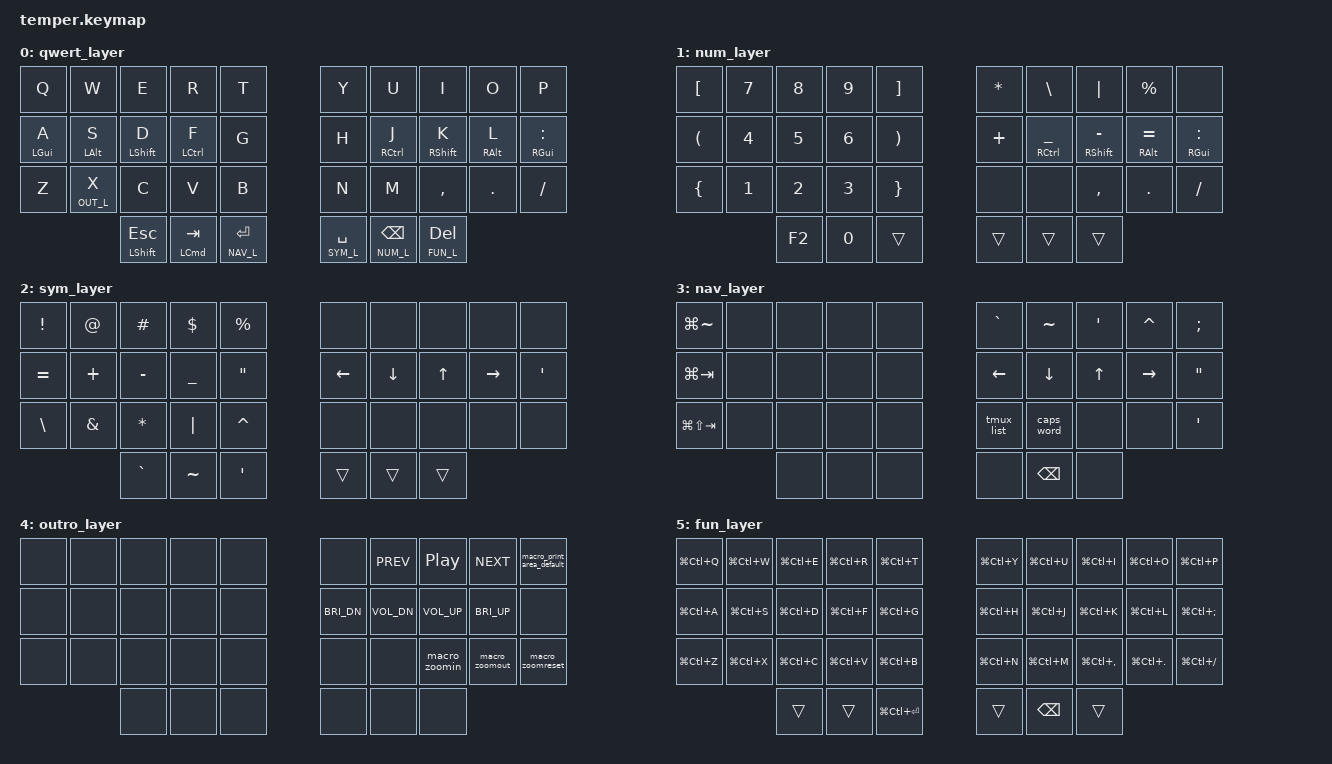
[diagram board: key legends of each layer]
// -*- mode: c; coding: utf-8 -*-
/*
 * Copyright (c) 2021 The ZMK Contributors
 *
 * SPDX-License-Identifier: MIT
 */

#include <behaviors.dtsi>
#include <dt-bindings/zmk/keys.h>

#define ZMK_HELPER_KEEP_NATIVE 1
#include "zmk-helpers/helper.h"
#include "zmk-helpers/key-labels/36.h"

#define HM_TAPPING_TERM 280
#define HM_PRIOR_IDLE   150
#define HM_QUICK_TAP    175

#define KEYS_L LT0 LT1 LT2 LT3 LT4 LM0 LM1 LM2 LM3 LM4 LB0 LB1 LB2 LB3 LB4
#define KEYS_R RT0 RT1 RT2 RT3 RT4 RM0 RM1 RM2 RM3 RM4 RB0 RB1 RB2 RB3 RB4
#define THUMBS LH2 LH1 LH0 RH0 RH1 RH2

ZMK_HOLD_TAP(hml,
    flavor = "balanced";
    tapping-term-ms = <HM_TAPPING_TERM>;
    quick-tap-ms = <HM_QUICK_TAP>;
    require-prior-idle-ms = <HM_PRIOR_IDLE>;
    hold-trigger-key-positions = <KEYS_R THUMBS>;
    hold-trigger-on-release;
    bindings = <&kp>, <&kp>;
)

ZMK_HOLD_TAP(hmr,
    flavor = "balanced";
    tapping-term-ms = <HM_TAPPING_TERM>;
    quick-tap-ms = <HM_QUICK_TAP>;
    require-prior-idle-ms = <HM_PRIOR_IDLE>;
    hold-trigger-key-positions = <KEYS_L THUMBS>;
    hold-trigger-on-release;
    bindings = <&kp>, <&kp>;
)

&mt {
    tapping-term-ms = <200>;
    quick_tap_ms = <0>;
    flavor = "tap-preferred";
};

&lt {
    tapping-term-ms = <200>;
    quick_tap_ms = <0>;
    flavor = "tap-preferred";
};

&caps_word {
    continue-list = <DEL MINUS BSPC>;
};

#define QWERT_L 0
#define NUM_L   1
#define SYM_L   2
#define NAV_L   3
#define OUT_L   4
#define FUN_L   5

#define MY_COPY LC(INSERT)
#define MY_PASTE LS(INSERT)
//#define VI_U LC(Z)
//#define VI_W LC(RIGHT)
//#define VI_B LC(LEFT)

#define CCA &kp LG(LC(A))
#define CCB &kp LG(LC(B))
#define CCC &kp LG(LC(C))
#define CCD &kp LG(LC(D))
#define CCE &kp LG(LC(E))
#define CCF &kp LG(LC(F))
#define CCG &kp LG(LC(G))
#define CCH &kp LG(LC(H))
#define CCI &kp LG(LC(I))
#define CCJ &kp LG(LC(J))
#define CCK &kp LG(LC(K))
#define CCL &kp LG(LC(L))
#define CCM &kp LG(LC(M))
#define CCN &kp LG(LC(N))
#define CCO &kp LG(LC(O))
#define CCP &kp LG(LC(P))
#define CCQ &kp LG(LC(Q))
#define CCR &kp LG(LC(R))
#define CCS &kp LG(LC(S))
#define CCT &kp LG(LC(T))
#define CCU &kp LG(LC(U))
#define CCV &kp LG(LC(V))
#define CCW &kp LG(LC(W))
#define CCX &kp LG(LC(X))
#define CCY &kp LG(LC(Y))
#define CCZ &kp LG(LC(Z))
#define CC_C &kp LG(LC(COMMA))
#define CC_D &kp LG(LC(DOT))
#define CC_L &kp LG(LC(SEMI))
#define CC_S &kp LG(LC(SLASH))

#define TAB_CY &kp LG(TILDE)
#define TAB_FW &kp LG(TAB)
#define TAB_BW &kp LG(LS(TAB))

/ {
    combos {
        compatible = "zmk,combos";

    // shortcut
    #define COMBO(NAME, BINDINGS, KEYPOS, TIMEOUT) \
          combo_##NAME { \
            timeout-ms = <TIMEOUT>; \
            bindings = <BINDINGS>; \
            key-positions = <KEYPOS>; \
          };

        /*                KEY POSITIONS

          ╭────────────────────╮ ╭────────────────────╮
          │  0   1   2   3   4 │ │  5   6   7   8   9 │
          │ 10  11  12  13  14 │ │ 15  16  17  18  19 │
          │ 20  21  22  23  24 │ │ 25  26  27  28  29 │
          ╰───────╮ 30  31  32 │ │ 33  34  35 ╭───────╯
                  ╰────────────╯ ╰────────────╯        */


        //COMBO(semicolon, &kp SEMI, 18 19, 60
        //COMBO(slash, &kp FSLH, 1 2, 60)
        //COMBO(escape, &kp ESC, 0 1, 60)
        COMBO(minus, &kp MINUS, 31 34, 60)
        COMBO(underscore, &kp UNDER, 32 33, 60)
        COMBO(equal, &kp EQUAL, 30 35, 60)
        COMBO(plus, &kp PLUS, 20 29, 60)
        // COMBO(reset_left, &bootloader, 0 1 2 3, 100)
        //COMBO(reset_right, &bootloader, 6 7 8 9, 100)
    };

    macros {
        tmux_list: tmux_list {
            label = "tmux_list";
            compatible = "zmk,behavior-macro";
            #binding-cells = <0>;
            bindings
                = <&macro_press &kp LCTRL>
                , <&macro_tap &kp A>
                , <&macro_release &kp LCTRL>
                , <&macro_tap &kp N0>
                ;
        };
        macro_u: macro_u {
            label = "macro_u";
            compatible = "zmk,behavior-macro";
            #binding-cells = <0>;
            bindings
                = <&macro_press &kp LCTRL>
                , <&macro_press &kp LCMD>
                , <&macro_press &kp U>
                , <&macro_release &kp LCTRL>
                , <&macro_release &kp LCMD>
                , <&macro_release &kp U>
                ;
        };
        macro_i: macro_i {
            label = "macro_i";
            compatible = "zmk,behavior-macro";
            #binding-cells = <0>;
            bindings
                = <&macro_press &kp LCTRL>
                , <&macro_press &kp LCMD>
                , <&macro_press &kp I>
                , <&macro_release &kp LCTRL>
                , <&macro_release &kp LCMD>
                , <&macro_release &kp I>
                ;
        };
        macro_n: macro_n {
            label = "macro_n";
            compatible = "zmk,behavior-macro";
            #binding-cells = <0>;
            bindings
                = <&macro_press &kp LCTRL>
                , <&macro_press &kp LCMD>
                , <&macro_press &kp N>
                , <&macro_release &kp LCTRL>
                , <&macro_release &kp LCMD>
                , <&macro_release &kp N>
                ;
        };
        macro_m: macro_m {
            label = "macro_m";
            compatible = "zmk,behavior-macro";
            #binding-cells = <0>;
            bindings
                = <&macro_press &kp LCTRL>
                , <&macro_press &kp LCMD>
                , <&macro_press &kp M>
                , <&macro_release &kp LCTRL>
                , <&macro_release &kp LCMD>
                , <&macro_release &kp M>
                ;
        };
        macro_d: macro_d {
            label = "macro_d";
            compatible = "zmk,behavior-macro";
            #binding-cells = <0>;
            bindings
                = <&macro_press &kp LCTRL>
                , <&macro_press &kp LCMD>
                , <&macro_press &kp D>
                , <&macro_release &kp LCTRL>
                , <&macro_release &kp LCMD>
                , <&macro_release &kp D>
                ;
        };
        macro_comma: macro_comma {
            label = "macro_comma";
            compatible = "zmk,behavior-macro";
            #binding-cells = <0>;
            bindings
                = <&macro_press &kp LCTRL>
                , <&macro_press &kp LCMD>
                , <&macro_press &kp COMMA>
                , <&macro_release &kp LCTRL>
                , <&macro_release &kp LCMD>
                , <&macro_release &kp COMMA>
                ;
        };
        macro_print_area_default: macro_print_area_default {
            label = "macro_print_area_default";
            compatible = "zmk,behavior-macro";
            #binding-cells = <0>;
            bindings
                = <&macro_press &kp LCMD>
                , <&macro_press &kp LSHFT>
                , <&macro_press &kp N2>
                , <&macro_release &kp LCMD>
                , <&macro_release &kp LSHFT>
                , <&macro_release &kp N2>
                ;
        };
        macro_print_full: macro_print_full {
            label = "macro_print_full";
            compatible = "zmk,behavior-macro";
            #binding-cells = <0>;
            bindings
                = <&macro_press &kp LCMD>
                , <&macro_press &kp LSHFT>
                , <&macro_press &kp N1>
                , <&macro_release &kp LCMD>
                , <&macro_release &kp LSHFT>
                , <&macro_release &kp N1>
                ;
        };
        macro_print_area_clipboard: macro_print_area_clipboard {
            label = "macro_print_area_clipboard";
            compatible = "zmk,behavior-macro";
            #binding-cells = <0>;
            bindings
                = <&macro_press &kp LCMD>
                , <&macro_press &kp LSHFT>
                , <&macro_press &kp LCTRL>
                , <&macro_press &kp N4>
                , <&macro_release &kp LCMD>
                , <&macro_release &kp LSHFT>
                , <&macro_release &kp LCTRL>
                , <&macro_release &kp N4>
                ;
        };
        macro_zoomin: macro_zoomin {
            label = "macro_zoomin";
            compatible = "zmk,behavior-macro";
            #binding-cells = <0>;
            bindings
                = <&macro_press &kp LCMD>
                , <&macro_press &kp PLUS>
                , <&macro_release &kp LCMD>
                , <&macro_release &kp PLUS>
                ;
        };

        macro_zoomout: macro_zoomout {
            label = "macro_zoomout";
            compatible = "zmk,behavior-macro";
            #binding-cells = <0>;
            bindings
                = <&macro_press &kp LCMD>
                , <&macro_press &kp MINUS>
                , <&macro_release &kp LCMD>
                , <&macro_release &kp MINUS>
                ;
        };

        macro_zoomreset: macro_zoomreset {
            label = "macro_zoomreset";
            compatible = "zmk,behavior-macro";
            #binding-cells = <0>;
            bindings
                = <&macro_press &kp LCMD>
                , <&macro_press &kp N0>
                , <&macro_release &kp LCMD>
                , <&macro_release &kp N0>
                ;
        };

    };

    behaviors {
        bhm: balanced_homerow_mods {
            compatible = "zmk,behavior-hold-tap";
            label = "HOMEROW_MODS";
            #binding-cells = <2>;
            tapping-term-ms = <200>;
            quick-tap-ms = <185>;
            flavor = "balanced";
            bindings = <&kp>, <&kp>;
        };
    };

    keymap {
        compatible = "zmk,keymap";

        // QWERTY
        qwert_layer {
            bindings = <
                   &kp Q         &kp W         &kp E         &kp R              &kp T              &kp Y               &kp U            &kp I                 &kp O         &kp P
                   &hml LGUI A   &hml LALT S   &hml LSHFT D  &hml LCTRL F       &kp G              &kp H               &hmr RCTRL J     &hmr RSHFT K          &hmr RALT L   &hmr RGUI COLON
                   &kp Z         &lt OUT_L X   &kp C         &kp V              &kp B              &kp N               &kp M            &kp COMMA             &kp DOT       &kp SLASH
                 /*&            &*/              &bhm LSHFT ESC   &bhm LCMD TAB  &lt NAV_L RET     &lt SYM_L SPACE  &lt NUM_L BSPC       &lt FUN_L DEL     /*  &             &*/
            >;
        };

        num_layer {
            bindings = <
                   &kp LBKT     &kp N7        &kp N8        &kp N9             &kp RBKT           &kp STAR            &kp BSLH        &kp PIPE              &kp PRCNT         &none
                   &kp LPAR     &kp N4        &kp N5        &kp N6             &kp RPAR           &kp PLUS            &hmr RCTRL UNDER &hmr RSHFT MINUS     &hmr RALT EQUAL   &hmr RGUI COLON
                   &kp LBRC     &kp N1        &kp N2        &kp N3             &kp RBRC           &none               &none            &kp COMMA             &kp DOT       &kp SLASH
                 /*&            &*/         &kp F2             &kp N0             &trans              &trans           &trans                &trans     /*             &             &*/
            >;
        };

        sym_layer {
            bindings = <
                   &kp EXCL     &kp AT        &kp HASH      &kp DLLR           &kp PRCNT          &none          &none       &none             &none     &none
                   &kp EQUAL   &kp PLUS      &kp MINUS      &kp UNDER          &kp DQT            &kp LEFT            &kp DOWN        &kp UP                &kp RIGHT     &kp SQT
                   &kp BSLH    &kp AMPS      &kp STAR       &kp PIPE           &kp CARET          &none               &none           &none                 &none         &none
                 /*&            &*/         &kp GRAVE          &kp TILDE          &kp SQT              &trans           &trans                   &trans     /*             &             &*/
            >;
        };

        nav_layer {
            bindings = <
                   TAB_CY        &none         &none         &none              &none             &kp GRAVE           &kp TILDE   &kp APOSTROPHE             &kp CARET     &kp SEMI
                   TAB_FW        &none         &none         &none              &none             &kp LEFT            &kp DOWN         &kp UP                &kp RIGHT     &kp DQT
                   TAB_BW        &none         &none         &none              &none             &tmux_list          &caps_word       &none                 &none         &kp SQT
                 /*&            &*/         &none              &none             &none               &none            &kp BSPC                 &none     /*            &             &*/
            >;
        };

        outro_layer {
            bindings = <
                   &none        &none         &none         &none              &none             &none               &kp C_PREV       &kp C_PP                 &kp C_NEXT    &macro_print_area_default
                   &none        &none         &none         &none              &none             &kp C_BRI_DN        &kp C_VOL_DN     &kp C_VOL_UP             &kp C_BRI_UP  &none
                   &none        &none         &none         &none              &none             &none               &none            &macro_zoomin            &macro_zoomout &macro_zoomreset
                 /*&            &*/         &none              &none             &none               &none            &none                    &none     /*            &             &*/
            >;
        };

        fun_layer {
            bindings = <
                   CCQ            CCW             CCE             CCR            CCT        CCY          CCU          CCI           CCO           CCP
                   CCA             CCS             CCD             CCF            CCG        CCH          CCJ          CCK           CCL           CC_L
                   CCZ             CCX             CCC             CCV            CCB        CCN          CCM          CC_C          CC_D          CC_S
                 /*&             &*/             &trans          &trans          &kp LG(LC(RET))   &trans        &kp BSPC     &trans         /*&           &*/
            >;
        };
    };
};
